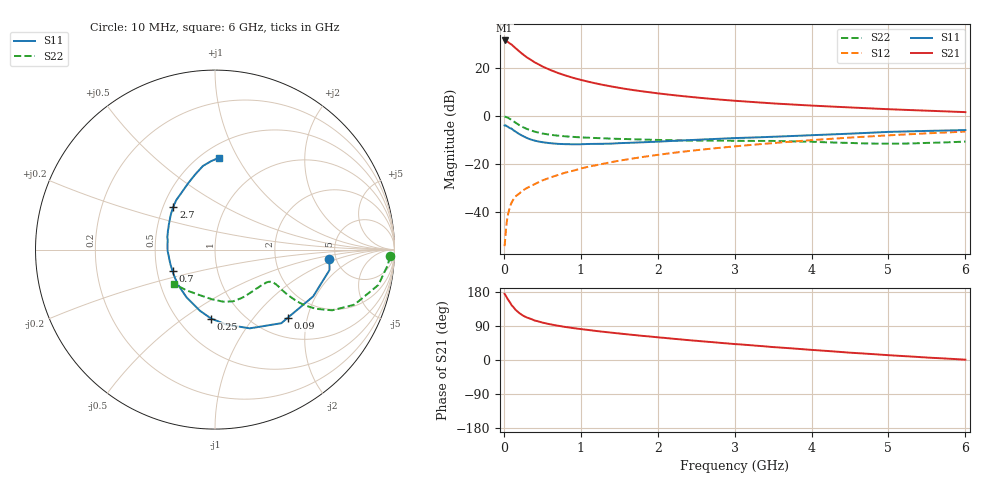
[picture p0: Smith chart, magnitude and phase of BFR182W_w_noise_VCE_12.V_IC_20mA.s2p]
! Infineon Technologies  Discrete & RF Semiconductors
! BFR182W
! VCE =  12. V,  IC =  20 mA
! Common Emitter S-Parameters:  Jan 2017
# GHz  S  MA  R  50
!  f  S11  S21  S12  S22
! GHz  MAG  ANG  MAG  ANG  MAG  ANG  MAG  ANG
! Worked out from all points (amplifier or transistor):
!   77 points, 10 MHz to 6 GHz, reference 50 ohm
!   highest |S21| = 31.4 dB at 10 MHz (marker M1)
!   |S21| within 3 dB of that: start of sweep to 145.8 MHz
!   unconditionally stable (mu >= 1): 851.9 MHz to 2.455 GHz
!   at 130 MHz: K = 0.42, MSG = 31.6 dB, |S12| = -34.3 dB
!   at 2.2 GHz: K = 1.01, MAG = 11.3 dB, |S12| = -15.3 dB
!   at 6 GHz: K = 0.86, MSG = 4.0 dB, |S12| = -6.4 dB
!   lowest NFmin = 1.41 dB at 450 MHz
!   S11 on the Smith chart (normalised r, x): 10 MHz: 4.39, -0.79; 90 MHz: 1.39, -1.52; 250 MHz: 0.71, -0.64; 700 MHz: 0.60, -0.16; 2.7 GHz: 0.56, +0.30; 6 GHz: 0.61, +0.84
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0.01  0.6392 -4.8  37.13 174.5  0.002 66.9  0.9742 -2.2
0.02  0.6481 -10.1  36.99 171.3  0.0031 93.7  0.9674 -5.0
0.05  0.606 -25.5  34.89 160.6  0.0085 75.4  0.9313 -12.2
0.09  0.5554 -43.2  31.24 148.4  0.0145 71.2  0.8528 -19.5
0.1  0.5519 -48.0  30.58 144.9  0.016 70.6  0.8356 -21.5
0.15  0.4797 -66.1  25.94 132.9  0.0214 65.8  0.7347 -27.4
0.2  0.4241 -81.0  22.06 124.0  0.0247 65.8  0.652 -30.4
0.25  0.3846 -93.3  19.01 117.0  0.0289 63.6  0.5893 -31.8
0.3  0.351 -103.8  16.53 112.0  0.0322 64.2  0.5395 -32.3
0.4  0.3102 -120.5  13.08 104.3  0.0387 65.1  0.4756 -31.9
0.5  0.2876 -133.3  10.74 98.8  0.0462 66.4  0.4359 -31.1
0.6  0.2745 -143.7  9.124 94.3  0.0529 67.4  0.4107 -30.2
0.7  0.2656 -152.9  7.896 90.6  0.0597 68.9  0.3931 -29.7
0.9  0.2603 -166.7  6.227 84.3  0.0735 69.6  0.3705 -29.6
1.1  0.2641 -178.2  5.165 79.2  0.0891 70.0  0.3565 -30.2
1.5  0.2746 165.4  3.857 70.0  0.1187 69.5  0.3367 -33.6
2.1  0.3003 147.3  2.845 58.1  0.1646 66.7  0.3176 -42.9
2.7  0.333 134.1  2.279 47.3  0.2116 63.0  0.309 -55.0
3.1  0.3538 126.2  2.03 40.7  0.2432 60.1  0.3067 -63.0
4.1  0.4072 110.0  1.625 25.3  0.325 51.9  0.2898 -83.2
5.1  0.4746 97.1  1.37 11.5  0.4067 42.7  0.2678 -112.5
6  0.5134 87.3  1.21 0.9  0.4772 33.8  0.2963 -139.7
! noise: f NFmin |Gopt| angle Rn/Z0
0.45  1.41  0.11  -176  0.15
0.9  1.49  0.11  -171  0.15
1.9  2  0.28  -142  0.16
2.4  2.26  0.29  -128  0.26
